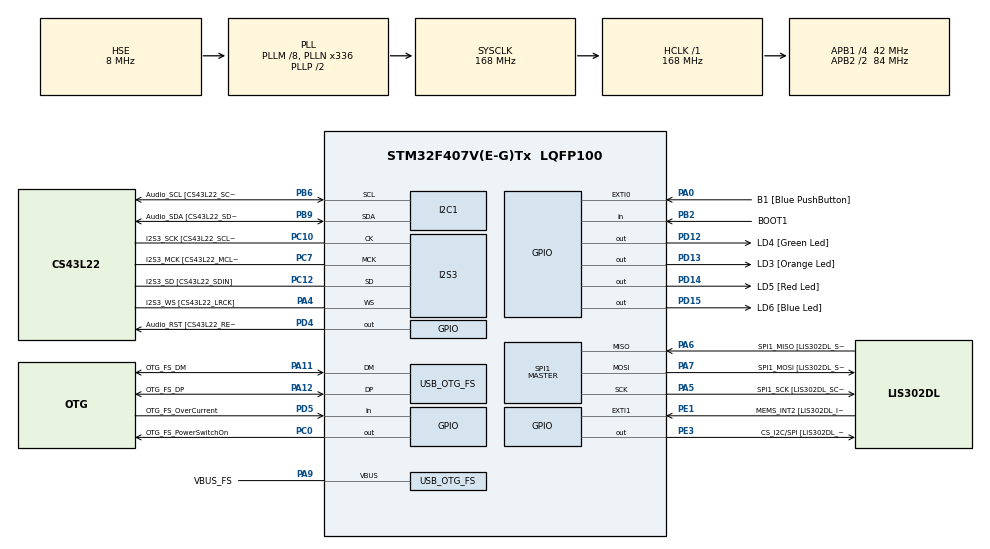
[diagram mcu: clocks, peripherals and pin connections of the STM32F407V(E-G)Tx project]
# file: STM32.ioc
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FREERTOS.Tasks01=defaultTask,24,128,StartDefaultTask,Default,NULL,Dynamic,NULL,NULL
FREERTOS.Timers01=os_timer1,os_timer1_callb,osTimerPeriodic,Default,NULL,Dynamic,NULL
I2S3.AudioFreq-Half_Duplex_Master=I2S_AUDIOFREQ_96K
I2S3.ErrorAudioFreq=-2.34 %
I2S3.ErrorAudioFreq-Half_Duplex_Master=0.8 %
I2S3.FullDuplexMode=I2S_FULLDUPLEXMODE_DISABLE
I2S3.Instance=SPI$Index
I2S3.RealAudioFreq=93.75 KHz
I2S3.RealAudioFreq-Half_Duplex_Master=96.774 KHz
I2S3.VirtualMode=I2S_MODE_MASTER
Mcu.Family=STM32F4
Mcu.Name=STM32F407V(E-G)Tx
Mcu.Package=LQFP100
NVIC.OTG_FS_IRQn=true\:5\:0\:false\:false\:true\:true\:true\:true\:true
NVIC.PriorityGroup=NVIC_PRIORITYGROUP_4
PA0-WKUP.GPIO_Label=B1 [Blue PushButton]
PA0-WKUP.GPIO_ModeDefaultEXTI=GPIO_MODE_EVT_RISING
PA0-WKUP.GPIO_PuPd=GPIO_NOPULL
PA0-WKUP.Signal=GPXTI0
PA10.GPIO_Label=OTG_FS_ID
PA10.GPIO_Mode=GPIO_MODE_AF_PP
PA10.GPIO_PuPd=GPIO_NOPULL
PA10.GPIO_Speed=GPIO_SPEED_FREQ_LOW
PA10.Signal=USB_OTG_FS_ID
PA11.GPIO_Label=OTG_FS_DM
PA11.GPIO_Mode=GPIO_MODE_AF_PP
PA11.GPIO_PuPd=GPIO_NOPULL
PA11.GPIO_Speed=GPIO_SPEED_FREQ_LOW
PA11.Mode=Host_Only
PA11.Signal=USB_OTG_FS_DM
PA12.GPIO_Label=OTG_FS_DP
PA12.GPIO_Mode=GPIO_MODE_AF_PP
PA12.GPIO_PuPd=GPIO_NOPULL
PA12.GPIO_Speed=GPIO_SPEED_FREQ_LOW
PA12.Mode=Host_Only
PA12.Signal=USB_OTG_FS_DP
PA13.GPIO_Label=SWDIO
PA13.Mode=Serial_Wire
PA13.Signal=SYS_JTMS-SWDIO
PA14.GPIO_Label=SWCLK
PA14.Mode=Serial_Wire
PA14.Signal=SYS_JTCK-SWCLK
PA4.GPIO_Label=I2S3_WS [CS43L22_LRCK]
PA4.GPIO_Mode=GPIO_MODE_AF_PP
PA4.GPIO_PuPd=GPIO_NOPULL
PA4.GPIO_Speed=GPIO_SPEED_FREQ_LOW
PA4.Mode=Half_Duplex_Master
PA4.Signal=I2S3_WS
PA5.GPIO_Label=SPI1_SCK [LIS302DL_SCL/SPC]
PA5.GPIO_Mode=GPIO_MODE_AF_PP
PA5.GPIO_PuPd=GPIO_NOPULL
PA5.GPIO_Speed=GPIO_SPEED_FREQ_LOW
PA5.Mode=Full_Duplex_Master
PA5.Signal=SPI1_SCK
PA6.GPIO_Label=SPI1_MISO [LIS302DL_SDO]
PA6.GPIO_Mode=GPIO_MODE_AF_PP
PA6.GPIO_PuPd=GPIO_NOPULL
PA6.GPIO_Speed=GPIO_SPEED_FREQ_LOW
PA6.Mode=Full_Duplex_Master
PA6.Signal=SPI1_MISO
PA7.GPIO_Label=SPI1_MOSI [LIS302DL_SDA/SDI/SDO]
PA7.GPIO_Mode=GPIO_MODE_AF_PP
PA7.GPIO_PuPd=GPIO_NOPULL
PA7.GPIO_Speed=GPIO_SPEED_FREQ_LOW
PA7.Mode=Full_Duplex_Master
PA7.Signal=SPI1_MOSI
PA9.GPIO_Label=VBUS_FS
PA9.GPIO_Mode=GPIO_MODE_INPUT
PA9.GPIO_PuPd=GPIO_NOPULL
PA9.Mode=Activate_VBUS
PA9.Signal=USB_OTG_FS_VBUS
PB10.GPIO_Label=CLK_IN [MP45DT02_CLK]
PB10.GPIO_Mode=GPIO_MODE_AF_PP
PB10.GPIO_PuPd=GPIO_NOPULL
PB10.GPIO_Speed=GPIO_SPEED_FREQ_LOW
PB10.Signal=I2S2_CK
PB2.GPIO_Label=BOOT1
PB2.GPIO_Mode=GPIO_MODE_INPUT
PB2.GPIO_PuPd=GPIO_NOPULL
PB2.Signal=GPIO_Input
PB3.GPIO_Label=SWO
PB3.Signal=SYS_JTDO-SWO
PB6.GPIO_Label=Audio_SCL [CS43L22_SCL]
PB6.GPIO_Mode=GPIO_MODE_AF_OD
PB6.GPIO_Pu=GPIO_PULLUP
PB6.GPIO_PuPd=GPIO_NOPULL
PB6.GPIO_Speed=GPIO_SPEED_FREQ_LOW
PB6.Mode=I2C
PB6.Signal=I2C1_SCL
PB9.GPIO_Label=Audio_SDA [CS43L22_SDA]
PB9.GPIO_Mode=GPIO_MODE_AF_OD
PB9.GPIO_Pu=GPIO_PULLUP
PB9.GPIO_PuPd=GPIO_NOPULL
PB9.GPIO_Speed=GPIO_SPEED_FREQ_LOW
PB9.Mode=I2C
PB9.Signal=I2C1_SDA
PC0.GPIO_Label=OTG_FS_PowerSwitchOn
PC0.GPIO_PuPd=GPIO_NOPULL
PC0.GPIO_Speed=GPIO_SPEED_FREQ_LOW
PC0.PinState=GPIO_PIN_SET
PC0.Signal=GPIO_Output
PC10.GPIO_Label=I2S3_SCK [CS43L22_SCLK]
PC10.GPIO_Mode=GPIO_MODE_AF_PP
PC10.GPIO_PuPd=GPIO_NOPULL
PC10.GPIO_Speed=GPIO_SPEED_FREQ_LOW
PC10.Mode=Half_Duplex_Master
PC10.Signal=I2S3_CK
PC12.GPIO_Label=I2S3_SD [CS43L22_SDIN]
PC12.GPIO_Mode=GPIO_MODE_AF_PP
PC12.GPIO_PuPd=GPIO_NOPULL
PC12.GPIO_Speed=GPIO_SPEED_FREQ_LOW
PC12.Mode=Half_Duplex_Master
PC12.Signal=I2S3_SD
PC14-OSC32_IN.GPIO_Label=PC14-OSC32_IN
PC14-OSC32_IN.Mode=LSE-External-Oscillator
PC14-OSC32_IN.Signal=RCC_OSC32_IN
PC15-OSC32_OUT.GPIO_Label=PC15-OSC32_OUT
PC15-OSC32_OUT.Mode=LSE-External-Oscillator
PC15-OSC32_OUT.Signal=RCC_OSC32_OUT
PC3.GPIO_Label=PDM_OUT [MP45DT02_DOUT]
PC3.GPIO_Mode=GPIO_MODE_AF_PP
PC3.GPIO_PuPd=GPIO_NOPULL
PC3.GPIO_Speed=GPIO_SPEED_FREQ_LOW
PC3.Signal=I2S2_SD
PC7.GPIO_Label=I2S3_MCK [CS43L22_MCLK]
PC7.GPIO_Mode=GPIO_MODE_AF_PP
PC7.GPIO_PuPd=GPIO_NOPULL
PC7.GPIO_Speed=GPIO_SPEED_FREQ_LOW
PC7.Mode=Master_Clock_Activated
PC7.Signal=I2S3_MCK
PD12.GPIO_Label=LD4 [Green Led]
PD12.GPIO_PuPd=GPIO_NOPULL
PD12.GPIO_Speed=GPIO_SPEED_FREQ_LOW
PD12.Signal=GPIO_Output
PD13.GPIO_Label=LD3 [Orange Led]
PD13.GPIO_PuPd=GPIO_NOPULL
PD13.GPIO_Speed=GPIO_SPEED_FREQ_LOW
PD13.Signal=GPIO_Output
PD14.GPIO_Label=LD5 [Red Led]
PD14.GPIO_PuPd=GPIO_NOPULL
PD14.GPIO_Speed=GPIO_SPEED_FREQ_LOW
PD14.Signal=GPIO_Output
PD15.GPIO_Label=LD6 [Blue Led]
PD15.GPIO_PuPd=GPIO_NOPULL
PD15.GPIO_Speed=GPIO_SPEED_FREQ_LOW
PD15.Signal=GPIO_Output
PD4.GPIO_Label=Audio_RST [CS43L22_RESET]
PD4.GPIO_PuPd=GPIO_NOPULL
PD4.GPIO_Speed=GPIO_SPEED_FREQ_LOW
PD4.Signal=GPIO_Output
PD5.GPIO_Label=OTG_FS_OverCurrent
PD5.GPIO_Mode=GPIO_MODE_INPUT
PD5.GPIO_PuPd=GPIO_NOPULL
PD5.Signal=GPIO_Input
PE1.GPIO_Label=MEMS_INT2 [LIS302DL_INT2]
PE1.GPIO_ModeDefaultEXTI=GPIO_MODE_EVT_RISING
PE1.GPIO_PuPd=GPIO_NOPULL
PE1.Signal=GPXTI1
PE3.GPIO_Label=CS_I2C/SPI [LIS302DL_CS_I2C/SPI]
PE3.GPIO_PuPd=GPIO_NOPULL
PE3.GPIO_Speed=GPIO_SPEED_FREQ_LOW
PE3.Signal=GPIO_Output
PH0-OSC_IN.GPIO_Label=PH0-OSC_IN
PH0-OSC_IN.Mode=HSE-External-Oscillator
PH0-OSC_IN.Signal=RCC_OSC_IN
PH1-OSC_OUT.GPIO_Label=PH1-OSC_OUT
PH1-OSC_OUT.Mode=HSE-External-Oscillator
PH1-OSC_OUT.Signal=RCC_OSC_OUT
ProjectManager.HeapSize=0x200
ProjectManager.StackSize=0x400
ProjectManager.TargetToolchain=STM32CubeIDE
RCC.48MHZClocksFreq_Value=48000000
RCC.AHBFreq_Value=168000000
RCC.APB1CLKDivider=RCC_HCLK_DIV4
RCC.APB1Freq_Value=42000000
RCC.APB1TimFreq_Value=84000000
RCC.APB2CLKDivider=RCC_HCLK_DIV2
RCC.APB2Freq_Value=84000000
RCC.APB2TimFreq_Value=168000000
RCC.CortexFreq_Value=168000000
RCC.HCLKFreq_Value=168000000
RCC.HSE_VALUE=8000000
RCC.HSI_VALUE=16000000
RCC.PLLM=8
RCC.PLLN=336
RCC.PLLQ=7
RCC.SYSCLKFreq_VALUE=168000000
RCC.SYSCLKSource=RCC_SYSCLKSOURCE_PLLCLK
RCC.VCOOutputFreq_Value=336000000
SPI1.BaudRatePrescaler-Full_Duplex_Master=SPI_BAUDRATEPRESCALER_2
SPI1.CalculateBaudRate-Full_Duplex_Master=42.0 MBits/s
SPI1.Direction=SPI_DIRECTION_2LINES
SPI1.Mode=SPI_MODE_MASTER
SPI1.Mode-Full_Duplex_Master=SPI_MODE_MASTER
SPI1.VirtualType=VM_MASTER
USB_HOST.BSP.number=1
USB_HOST.USBH_HandleTypeDef-CDC_FS=hUsbHostFS
USB_HOST.VirtualModeFS=Cdc
USB_HOST0.BSP.STBoard=false
USB_HOST0.BSP.api=Unknown
USB_HOST0.BSP.instance=PC0
USB_HOST0.BSP.ip=GPIO
USB_HOST0.BSP.mode=Output
USB_HOST0.BSP.name=Drive_VBUS_FS
USB_HOST0.BSP.solution=PC0
USB_OTG_FS.VirtualMode=Host_Only
USB_OTG_FS.phy_itface=HCD_PHY_EMBEDDED
VP_FREERTOS_VS_CMSIS_V2.Mode=CMSIS_V2
VP_USB_HOST_VS_USB_HOST_CDC_FS.Mode=CDC_FS
board=STM32F407G-DISC1

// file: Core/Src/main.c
/* USER CODE BEGIN Header */
/**
  ******************************************************************************
  * @file           : main.c
  * @brief          : Main program body
  ******************************************************************************
  * @attention
  *
  * Copyright (c) 2022 STMicroelectronics.
  * All rights reserved.
  *
  * This software is licensed under terms that can be found in the LICENSE file
  * in the root directory of this software component.
  * If no LICENSE file comes with this software, it is provided AS-IS.
  *
  ******************************************************************************
  */
/* USER CODE END Header */
#include "main.h"
#include "cmsis_os.h"
#include "usb_host.h"

/* USER CODE BEGIN Includes */

#include "display.h"
#include "tasks.h"
#include "timers.h"

void myTimerCallback();

/* USER CODE END Includes */

I2C_HandleTypeDef hi2c1;

I2S_HandleTypeDef hi2s3;

SPI_HandleTypeDef hspi1;

/* Definitions for defaultTask */
osThreadId_t defaultTaskHandle;
const osThreadAttr_t defaultTask_attributes = {
        .name = "defaultTask",
        .stack_size = 128 * 4,
        .priority = (osPriority_t) osPriorityNormal,
};
/* Definitions for os_timer1 */
osTimerId_t os_timer1Handle;
const osTimerAttr_t os_timer1_attributes = {
        .name = "os_timer1"
};

void SystemClock_Config(void);

static void MX_GPIO_Init(void);

static void MX_I2C1_Init(void);

static void MX_I2S3_Init(void);

static void MX_SPI1_Init(void);

void StartDefaultTask(void *argument);

void os_timer1_callb(void *argument);

/* USER CODE BEGIN 0 */

osMessageQueueId_t displayQueue;

osSemaphoreId_t displaySem;

volatile uint32_t ms = 0;

/* USER CODE END 0 */

int main(void) {
    /* USER CODE BEGIN 1 */

    displaySem = osSemaphoreNew(1U, 1U, NULL);

    // Initialize the display-queue with max msg_count 5 -> more messages on the display are not useful
    displayQueue = osMessageQueueNew(5, (sizeof(char[50])), NULL);

    char message[50] = "Hallo Welt";

    osSemaphoreAcquire(displaySem, osWaitForever);
    osMessageQueuePut(displayQueue, &message, 0U, 0U);
    osSemaphoreRelease(displaySem);

    /* USER CODE END 1 */

    /* MCU Configuration--------------------------------------------------------*/

    /* Reset of all peripherals, Initializes the Flash interface and the Systick. */
    HAL_Init();

    /* Configure the system clock */
    SystemClock_Config();

    /* Initialize all configured peripherals */
    MX_GPIO_Init();
    MX_I2C1_Init();
    MX_I2S3_Init();
    MX_SPI1_Init();

    /* Init scheduler */
    osKernelInitialize();

    /* Create the timer(s) */
    /* creation of os_timer1 */
    os_timer1Handle = osTimerNew(os_timer1_callb, osTimerPeriodic, NULL, &os_timer1_attributes);

    /* USER CODE BEGIN RTOS_TIMERS */
    /* start timers, add new ones, ... */

    //osTimerStart(os_timer1Handle, pdMS_TO_TICKS(250));
    osTimerStart(os_timer1Handle, pdMS_TO_TICKS(1));

    /* USER CODE END RTOS_TIMERS */

    /* Create the thread(s) */
    /* creation of defaultTask */
    defaultTaskHandle = osThreadNew(StartDefaultTask, NULL, &defaultTask_attributes);

    /* USER CODE BEGIN RTOS_THREADS */

    xTaskCreate(DisplayTask, "DisplayTask", 1000, NULL, 1, NULL);
    xTaskCreate(HandleUserButton, "HandleUserButton", 1000, NULL, 1, NULL);

    /* USER CODE END RTOS_THREADS */

    /* Start scheduler */
    osKernelStart();

    /* We should never get here as control is now taken by the scheduler */
    /* Infinite loop */
    while (1) {

    }
}

void SystemClock_Config(void) {
    RCC_OscInitTypeDef RCC_OscInitStruct = {0};
    RCC_ClkInitTypeDef RCC_ClkInitStruct = {0};

    /** Configure the main internal regulator output voltage
    */
    __HAL_RCC_PWR_CLK_ENABLE();
    __HAL_PWR_VOLTAGESCALING_CONFIG(PWR_REGULATOR_VOLTAGE_SCALE1);

    /** Initializes the RCC Oscillators according to the specified parameters
    * in the RCC_OscInitTypeDef structure.
    */
    RCC_OscInitStruct.OscillatorType = RCC_OSCILLATORTYPE_HSE;
    RCC_OscInitStruct.HSEState = RCC_HSE_ON;
    RCC_OscInitStruct.PLL.PLLState = RCC_PLL_ON;
    RCC_OscInitStruct.PLL.PLLSource = RCC_PLLSOURCE_HSE;
    RCC_OscInitStruct.PLL.PLLM = 8;
    RCC_OscInitStruct.PLL.PLLN = 336;
    RCC_OscInitStruct.PLL.PLLP = RCC_PLLP_DIV2;
    RCC_OscInitStruct.PLL.PLLQ = 7;
    if (HAL_RCC_OscConfig(&RCC_OscInitStruct) != HAL_OK) {
        Error_Handler();
    }

    /** Initializes the CPU, AHB and APB buses clocks
    */
    RCC_ClkInitStruct.ClockType = RCC_CLOCKTYPE_HCLK | RCC_CLOCKTYPE_SYSCLK
                                  | RCC_CLOCKTYPE_PCLK1 | RCC_CLOCKTYPE_PCLK2;
    RCC_ClkInitStruct.SYSCLKSource = RCC_SYSCLKSOURCE_PLLCLK;
    RCC_ClkInitStruct.AHBCLKDivider = RCC_SYSCLK_DIV1;
    RCC_ClkInitStruct.APB1CLKDivider = RCC_HCLK_DIV4;
    RCC_ClkInitStruct.APB2CLKDivider = RCC_HCLK_DIV2;

    if (HAL_RCC_ClockConfig(&RCC_ClkInitStruct, FLASH_LATENCY_5) != HAL_OK) {
        Error_Handler();
    }
}

static void MX_I2C1_Init(void) {

    hi2c1.Instance = I2C1;
    hi2c1.Init.ClockSpeed = 100000;
    hi2c1.Init.DutyCycle = I2C_DUTYCYCLE_2;
    hi2c1.Init.OwnAddress1 = 0;
    hi2c1.Init.AddressingMode = I2C_ADDRESSINGMODE_7BIT;
    hi2c1.Init.DualAddressMode = I2C_DUALADDRESS_DISABLE;
    hi2c1.Init.OwnAddress2 = 0;
    hi2c1.Init.GeneralCallMode = I2C_GENERALCALL_DISABLE;
    hi2c1.Init.NoStretchMode = I2C_NOSTRETCH_DISABLE;
    if (HAL_I2C_Init(&hi2c1) != HAL_OK) {
        Error_Handler();
    }

}

static void MX_I2S3_Init(void) {

    hi2s3.Instance = SPI3;
    hi2s3.Init.Mode = I2S_MODE_MASTER_TX;
    hi2s3.Init.Standard = I2S_STANDARD_PHILIPS;
    hi2s3.Init.DataFormat = I2S_DATAFORMAT_16B;
    hi2s3.Init.MCLKOutput = I2S_MCLKOUTPUT_ENABLE;
    hi2s3.Init.AudioFreq = I2S_AUDIOFREQ_96K;
    hi2s3.Init.CPOL = I2S_CPOL_LOW;
    hi2s3.Init.ClockSource = I2S_CLOCK_PLL;
    hi2s3.Init.FullDuplexMode = I2S_FULLDUPLEXMODE_DISABLE;
    if (HAL_I2S_Init(&hi2s3) != HAL_OK) {
        Error_Handler();
    }

}

static void MX_SPI1_Init(void) {

    /* SPI1 parameter configuration*/
    hspi1.Instance = SPI1;
    hspi1.Init.Mode = SPI_MODE_MASTER;
    hspi1.Init.Direction = SPI_DIRECTION_2LINES;
    hspi1.Init.DataSize = SPI_DATASIZE_8BIT;
    hspi1.Init.CLKPolarity = SPI_POLARITY_LOW;
    hspi1.Init.CLKPhase = SPI_PHASE_1EDGE;
    hspi1.Init.NSS = SPI_NSS_SOFT;
    hspi1.Init.BaudRatePrescaler = SPI_BAUDRATEPRESCALER_2;
    hspi1.Init.FirstBit = SPI_FIRSTBIT_MSB;
    hspi1.Init.TIMode = SPI_TIMODE_DISABLE;
    hspi1.Init.CRCCalculation = SPI_CRCCALCULATION_DISABLE;
    hspi1.Init.CRCPolynomial = 10;
    if (HAL_SPI_Init(&hspi1) != HAL_OK) {
        Error_Handler();
    }

}

static void MX_GPIO_Init(void) {
    GPIO_InitTypeDef GPIO_InitStruct = {0};

    /* GPIO Ports Clock Enable */
    __HAL_RCC_GPIOE_CLK_ENABLE();
    __HAL_RCC_GPIOC_CLK_ENABLE();
    __HAL_RCC_GPIOH_CLK_ENABLE();
    __HAL_RCC_GPIOA_CLK_ENABLE();
    __HAL_RCC_GPIOB_CLK_ENABLE();
    __HAL_RCC_GPIOD_CLK_ENABLE();

    /*Configure GPIO pin Output Level */
    HAL_GPIO_WritePin(CS_I2C_SPI_GPIO_Port, CS_I2C_SPI_Pin, GPIO_PIN_RESET);

    /*Configure GPIO pin Output Level */
    HAL_GPIO_WritePin(OTG_FS_PowerSwitchOn_GPIO_Port, OTG_FS_PowerSwitchOn_Pin, GPIO_PIN_SET);

    /*Configure GPIO pin Output Level */
    HAL_GPIO_WritePin(GPIOD, LD4_Pin | LD3_Pin | LD5_Pin | LD6_Pin
                             | Audio_RST_Pin, GPIO_PIN_RESET);

    /*Configure GPIO pin : CS_I2C_SPI_Pin */
    GPIO_InitStruct.Pin = CS_I2C_SPI_Pin;
    GPIO_InitStruct.Mode = GPIO_MODE_OUTPUT_PP;
    GPIO_InitStruct.Pull = GPIO_NOPULL;
    GPIO_InitStruct.Speed = GPIO_SPEED_FREQ_LOW;
    HAL_GPIO_Init(CS_I2C_SPI_GPIO_Port, &GPIO_InitStruct);

    /*Configure GPIO pin : OTG_FS_PowerSwitchOn_Pin */
    GPIO_InitStruct.Pin = OTG_FS_PowerSwitchOn_Pin;
    GPIO_InitStruct.Mode = GPIO_MODE_OUTPUT_PP;
    GPIO_InitStruct.Pull = GPIO_NOPULL;
    GPIO_InitStruct.Speed = GPIO_SPEED_FREQ_LOW;
    HAL_GPIO_Init(OTG_FS_PowerSwitchOn_GPIO_Port, &GPIO_InitStruct);

    /*Configure GPIO pin : PDM_OUT_Pin */
    GPIO_InitStruct.Pin = PDM_OUT_Pin;
    GPIO_InitStruct.Mode = GPIO_MODE_AF_PP;
    GPIO_InitStruct.Pull = GPIO_NOPULL;
    GPIO_InitStruct.Speed = GPIO_SPEED_FREQ_LOW;
    GPIO_InitStruct.Alternate = GPIO_AF5_SPI2;
    HAL_GPIO_Init(PDM_OUT_GPIO_Port, &GPIO_InitStruct);

    /*Configure GPIO pin : B1_Pin */
    GPIO_InitStruct.Pin = B1_Pin;
    GPIO_InitStruct.Mode = GPIO_MODE_EVT_RISING;
    GPIO_InitStruct.Pull = GPIO_NOPULL;
    HAL_GPIO_Init(B1_GPIO_Port, &GPIO_InitStruct);

    /*Configure GPIO pin : BOOT1_Pin */
    GPIO_InitStruct.Pin = BOOT1_Pin;
    GPIO_InitStruct.Mode = GPIO_MODE_INPUT;
    GPIO_InitStruct.Pull = GPIO_NOPULL;
    HAL_GPIO_Init(BOOT1_GPIO_Port, &GPIO_InitStruct);

    /*Configure GPIO pin : CLK_IN_Pin */
    GPIO_InitStruct.Pin = CLK_IN_Pin;
    GPIO_InitStruct.Mode = GPIO_MODE_AF_PP;
    GPIO_InitStruct.Pull = GPIO_NOPULL;
    GPIO_InitStruct.Speed = GPIO_SPEED_FREQ_LOW;
    GPIO_InitStruct.Alternate = GPIO_AF5_SPI2;
    HAL_GPIO_Init(CLK_IN_GPIO_Port, &GPIO_InitStruct);

    /*Configure GPIO pins : LD4_Pin LD3_Pin LD5_Pin LD6_Pin
                             Audio_RST_Pin */
    GPIO_InitStruct.Pin = LD4_Pin | LD3_Pin | LD5_Pin | LD6_Pin
                          | Audio_RST_Pin;
    GPIO_InitStruct.Mode = GPIO_MODE_OUTPUT_PP;
    GPIO_InitStruct.Pull = GPIO_NOPULL;
    GPIO_InitStruct.Speed = GPIO_SPEED_FREQ_LOW;
    HAL_GPIO_Init(GPIOD, &GPIO_InitStruct);

    /*Configure GPIO pin : OTG_FS_OverCurrent_Pin */
    GPIO_InitStruct.Pin = OTG_FS_OverCurrent_Pin;
    GPIO_InitStruct.Mode = GPIO_MODE_INPUT;
    GPIO_InitStruct.Pull = GPIO_NOPULL;
    HAL_GPIO_Init(OTG_FS_OverCurrent_GPIO_Port, &GPIO_InitStruct);

    /*Configure GPIO pin : MEMS_INT2_Pin */
    GPIO_InitStruct.Pin = MEMS_INT2_Pin;
    GPIO_InitStruct.Mode = GPIO_MODE_EVT_RISING;
    GPIO_InitStruct.Pull = GPIO_NOPULL;
    HAL_GPIO_Init(MEMS_INT2_GPIO_Port, &GPIO_InitStruct);

}

void StartDefaultTask(void *argument) {
    /* init code for USB_HOST */
    MX_USB_HOST_Init();
    /* USER CODE BEGIN 5 */

    HAL_GPIO_WritePin(GPIOD, GPIO_PIN_13, 1);

    volatile uint32_t currentMillis = 0;
    volatile uint32_t previousMillis = 0;

    while (1) {
        currentMillis = ms;
        if (currentMillis - previousMillis >= 5000) {
            previousMillis = currentMillis;

            osSemaphoreAcquire(displaySem, osWaitForever);
            osMessageQueuePut(displayQueue, "Periodic Event (5s)", 0U, 0U);
            osSemaphoreRelease(displaySem);

        }

        if(osMessageQueueGetCount(displayQueue) == 5) {
            HAL_GPIO_WritePin(GPIOD, GPIO_PIN_12, 1);
        } else {
            HAL_GPIO_WritePin(GPIOD, GPIO_PIN_12, 0);
        }

        osDelay(20);
    };

    /* USER CODE END 5 */
}

/* os_timer1_callb function */
void os_timer1_callb(void *argument) {
    /* USER CODE BEGIN os_timer1_callb */
    ms = ms + 1;

    /* USER CODE END os_timer1_callb */
}

void Error_Handler(void) {
    __disable_irq();
    while (1) {
    }
}
